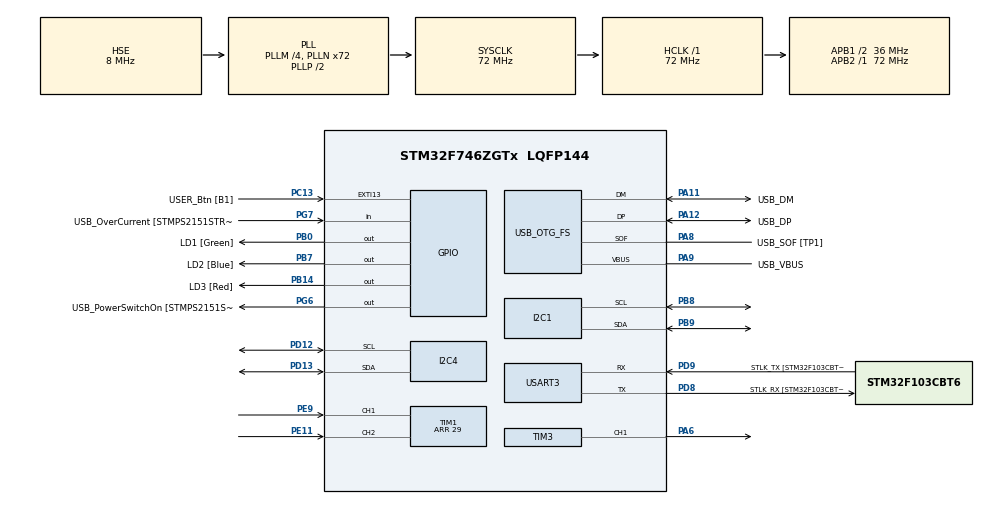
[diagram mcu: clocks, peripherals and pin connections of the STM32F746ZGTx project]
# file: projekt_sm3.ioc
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I2C1.Timing=0x00808CD2
I2C4.AddressingMode=I2C_ADDRESSINGMODE_7BIT
I2C4.Timing=0x00808CD2
Mcu.Family=STM32F7
Mcu.Name=STM32F746ZGTx
Mcu.Package=LQFP144
NVIC.I2C4_ER_IRQn=true\:0\:0\:false\:false\:true\:true\:true
NVIC.I2C4_EV_IRQn=true\:0\:0\:false\:false\:true\:true\:true
NVIC.PriorityGroup=NVIC_PRIORITYGROUP_4
PA1.GPIO_Label=RMII_REF_CLK [LAN8742A-CZ-TR_REFCLK0]
PA1.Signal=ETH_REF_CLK
PA10.GPIO_Label=USB_ID
PA10.Signal=USB_OTG_FS_ID
PA11.GPIO_Label=USB_DM
PA11.Mode=Device_Only
PA11.Signal=USB_OTG_FS_DM
PA12.GPIO_Label=USB_DP
PA12.Mode=Device_Only
PA12.Signal=USB_OTG_FS_DP
PA13.GPIO_Label=TMS
PA13.Mode=Serial_Wire
PA13.Signal=SYS_JTMS-SWDIO
PA14.GPIO_Label=TCK
PA14.Mode=Serial_Wire
PA14.Signal=SYS_JTCK-SWCLK
PA2.GPIO_Label=RMII_MDIO [LAN8742A-CZ-TR_MDIO]
PA2.Signal=ETH_MDIO
PA6.Signal=S_TIM3_CH1
PA7.GPIO_Label=RMII_CRS_DV [LAN8742A-CZ-TR_CRS_DV]
PA7.Signal=ETH_CRS_DV
PA8.GPIO_Label=USB_SOF [TP1]
PA8.Mode=Activate_SOF_FS
PA8.Signal=USB_OTG_FS_SOF
PA9.GPIO_Label=USB_VBUS
PA9.Mode=Activate_VBUS
PA9.Signal=USB_OTG_FS_VBUS
PB0.GPIO_Label=LD1 [Green]
PB0.Signal=GPIO_Output
PB13.GPIO_Label=RMII_TXD1 [LAN8742A-CZ-TR_TXD1]
PB13.Signal=ETH_TXD1
PB14.GPIO_Label=LD3 [Red]
PB14.Signal=GPIO_Output
PB3.GPIO_Label=SW0
PB3.Signal=SYS_JTDO-SWO
PB7.GPIO_Label=LD2 [Blue]
PB7.Signal=GPIO_Output
PB8.Mode=I2C
PB8.Signal=I2C1_SCL
PB9.Mode=I2C
PB9.Signal=I2C1_SDA
PC1.GPIO_Label=RMII_MDC [LAN8742A-CZ-TR_MDC]
PC1.Signal=ETH_MDC
PC13.GPIO_Label=USER_Btn [B1]
PC13.Signal=GPXTI13
PC14/OSC32_IN.Mode=LSE-External-Oscillator
PC14/OSC32_IN.Signal=RCC_OSC32_IN
PC15/OSC32_OUT.Mode=LSE-External-Oscillator
PC15/OSC32_OUT.Signal=RCC_OSC32_OUT
PC4.GPIO_Label=RMII_RXD0 [LAN8742A-CZ-TR_RXD0]
PC4.Signal=ETH_RXD0
PC5.GPIO_Label=RMII_RXD1 [LAN8742A-CZ-TR_RXD1]
PC5.Signal=ETH_RXD1
PD12.Mode=I2C
PD12.Signal=I2C4_SCL
PD13.Mode=I2C
PD13.Signal=I2C4_SDA
PD8.GPIO_Label=STLK_RX [STM32F103CBT6_PA3]
PD8.Mode=Asynchronous
PD8.Signal=USART3_TX
PD9.GPIO_Label=STLK_TX [STM32F103CBT6_PA2]
PD9.Mode=Asynchronous
PD9.Signal=USART3_RX
PE11.Signal=S_TIM1_CH2
PE9.Signal=S_TIM1_CH1
PG11.GPIO_Label=RMII_TX_EN [LAN8742A-CZ-TR_TXEN]
PG11.Signal=ETH_TX_EN
PG13.GPIO_Label=RMII_TXD0 [LAN8742A-CZ-TR_TXD0]
PG13.Signal=ETH_TXD0
PG6.GPIO_Label=USB_PowerSwitchOn [STMPS2151STR_EN]
PG6.Signal=GPIO_Output
PG7.GPIO_Label=USB_OverCurrent [STMPS2151STR_FAULT]
PG7.Signal=GPIO_Input
PH0/OSC_IN.GPIO_Label=MCO [STM32F103CBT6_PA8]
PH0/OSC_IN.Mode=HSE-External-Clock-Source
PH0/OSC_IN.Signal=RCC_OSC_IN
PH1/OSC_OUT.Mode=HSE-External-Clock-Source
PH1/OSC_OUT.Signal=RCC_OSC_OUT
ProjectManager.HeapSize=0x200
ProjectManager.StackSize=0x400
ProjectManager.TargetToolchain=STM32CubeIDE
RCC.48MHZClocksFreq_Value=24000000
RCC.AHBFreq_Value=72000000
RCC.APB1CLKDivider=RCC_HCLK_DIV2
RCC.APB1Freq_Value=36000000
RCC.APB1TimFreq_Value=72000000
RCC.APB2Freq_Value=72000000
RCC.APB2TimFreq_Value=72000000
RCC.CortexFreq_Value=72000000
RCC.HCLKFreq_Value=72000000
RCC.HSE_VALUE=8000000
RCC.HSI_VALUE=16000000
RCC.PLLM=4
RCC.PLLMUL=RCC_PLL_MUL9
RCC.PLLN=72
RCC.PLLQ=3
RCC.PRESCALERUSB=RCC_USBCLKSOURCE_PLL_DIV1_5
RCC.SYSCLKFreq_VALUE=72000000
RCC.SYSCLKSource=RCC_SYSCLKSOURCE_PLLCLK
RCC.SYSCLKSourceVirtual=RCC_SYSCLKSOURCE_PLLCLK
RCC.USBFreq_Value=48000000
RCC.VCOOutputFreq_Value=144000000
SH.S_TIM1_CH1.0=TIM1_CH1,Encoder_Interface
SH.S_TIM1_CH2.0=TIM1_CH2,Encoder_Interface
SH.S_TIM3_CH1.0=TIM3_CH1,PWM Generation1 CH1
TIM1.Period=29
TIM3.Channel-PWM\ Generation1\ CH1=TIM_CHANNEL_1
TIM3.Period=999
TIM3.Prescaler=71
TIM7.Period=5000
TIM7.Prescaler=7200
USART3.VirtualMode-Asynchronous=VM_ASYNC
USB_OTG_FS.VirtualMode=Device_Only
VP_TIM7_VS_ClockSourceINT.Mode=Enable_Timer
board=NUCLEO-F746ZG

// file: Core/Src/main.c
/* USER CODE BEGIN Header */
/**
  ******************************************************************************
  * @file           : main.c
  * @brief          : Main program body
  ******************************************************************************
  * @attention
  *
  * <h2><center>&copy; Copyright (c) 2021 STMicroelectronics.
  * All rights reserved.</center></h2>
  *
  * This software component is licensed by ST under BSD 3-Clause license,
  * the "License"; You may not use this file except in compliance with the
  * License. You may obtain a copy of the License at:
  *                        opensource.org/licenses/BSD-3-Clause
  *
  ******************************************************************************
  */
/* USER CODE END Header */
#include "main.h"

/* USER CODE BEGIN Includes */
#include "BMPXX80.h"
#include "i2c-lcd.h"
#include <stdbool.h>
#include <stdio.h>
#include <string.h>

/* USER CODE END Includes */

/* USER CODE BEGIN PTD */

typedef struct{
	float  Kp;
	float  Ki;
	float  Kd;
	float  dt;
}pid_parameters_t;

typedef struct{
	pid_parameters_t p;
	float  previous_error, previous_integral;
}pid_t2;

float  calculate_discrete_pid(pid_t2* pid, float  setpoint, float  measured){
	float  u=0, P, I, D, error, integral, derivative;

	error = setpoint-measured;

	//proportional part
	P = pid->p.Kp * error;

	//integral part
	integral = pid->previous_integral + (error+pid->previous_error) ; //numerical integrator without anti-windup
	pid->previous_integral = integral;
	I = pid->p.Ki*integral*(pid->p.dt/2.0);

	//derivative part
	derivative = (error- pid->previous_error)/pid->p.dt;
	pid->previous_error = error;
	D = pid->p.Kd*derivative;

	//sum of all parts
	u = P + I + D; //without saturation

	if(P  + I + D<0){
		u = 0;
	}
	if(P  + I + D>999){
		u = 999;
	}
	return u;
}

/* USER CODE END PTD */

I2C_HandleTypeDef hi2c1;
I2C_HandleTypeDef hi2c4;

TIM_HandleTypeDef htim1;
TIM_HandleTypeDef htim3;
TIM_HandleTypeDef htim7;

UART_HandleTypeDef huart3;

PCD_HandleTypeDef hpcd_USB_OTG_FS;

/* USER CODE BEGIN PV */
float temperature;
float temp_zadana = 25;
float temp_max = 40;
float temp_min = 20;
int32_t pressure;

float  dt = 0.007, t=0.0;
float  pid_output=0;
pid_t2 pid1 = { .p.Kp=1.35, .p.Ki=3.5, .p.Kd=0.1, .p.dt=0.01, .previous_error=0, .previous_integral=0};
uint16_t pwm = 0;
float feedback_measurement_temp;
char text[5];
float setpoint_Lux;

int button_pressed = 0;
char text_buffer_line1[15];
char text_buffer_line2[15];

float var2 = 0;

/* USER CODE END PV */

void SystemClock_Config(void);
static void MX_GPIO_Init(void);
static void MX_USART3_UART_Init(void);
static void MX_USB_OTG_FS_PCD_Init(void);
static void MX_I2C1_Init(void);
static void MX_I2C4_Init(void);
static void MX_TIM1_Init(void);
static void MX_TIM3_Init(void);
static void MX_TIM7_Init(void);

/* USER CODE BEGIN 0 */

void HAL_TIM_PeriodElapsedCallback(TIM_HandleTypeDef *htim){
	if(htim->Instance == TIM7){
		BMP280_ReadTemperatureAndPressure(&temperature, &pressure);
		feedback_measurement_temp = temperature;
		pid_output=calculate_discrete_pid(&pid1, temp_zadana, temperature);
		pwm = (uint16_t)pid_output*999/20;
		if(pwm > 999){
			pwm = 999;
		}else if(pwm < 0){
			pwm = 0;
		}
		__HAL_TIM_SET_COMPARE(&htim3,TIM_CHANNEL_1, pwm);
	}

}

/* USER CODE END 0 */

int main(void)
{
  /* USER CODE BEGIN 1 */
  #define MAX_LENGTH 30
  char text[MAX_LENGTH];
  int impulsy;
  float msg[64];
  /* USER CODE END 1 */

  /* MCU Configuration--------------------------------------------------------*/

  /* Reset of all peripherals, Initializes the Flash interface and the Systick. */
  HAL_Init();

  /* Configure the system clock */
  SystemClock_Config();

  /* Initialize all configured peripherals */
  MX_GPIO_Init();
  MX_USART3_UART_Init();
  MX_USB_OTG_FS_PCD_Init();
  MX_I2C1_Init();
  MX_I2C4_Init();
  MX_TIM1_Init();
  MX_TIM3_Init();
  MX_TIM7_Init();
  /* USER CODE BEGIN 2 */
  BMP280_Init(&hi2c1, BMP280_TEMPERATURE_16BIT, BMP280_STANDARD, BMP280_FORCEDMODE);
  HAL_TIM_Encoder_Start(&htim1,TIM_CHANNEL_ALL);
  HAL_TIM_PWM_Start(&htim3, TIM_CHANNEL_1);
  lcd_init();
  lcd_send_string ("Projekt SM");
  HAL_Delay(1000);
  lcd_put_cur(0, 0);
  lcd_send_string("P. Bialoblocki");
  lcd_put_cur(1, 0);
  lcd_send_string("G. Gruszczynski");
  HAL_Delay(1500);

  /* USER CODE END 2 */

  /* Infinite loop */
  while (1)
  {

    /* USER CODE BEGIN 3 */
//BMP280_ReadTemperatureAndPressure(&temperature, &pressure);

	  HAL_TIM_PeriodElapsedCallback(&htim7);

	  lcd_clear ();
	  lcd_put_cur(0, 0);
	  sprintf((char*)text, "Temp.  %.2f  C", temperature);
	  lcd_send_string(text);

	  sprintf((char*)msg, "pwm= %3i", pwm);
	  HAL_UART_Transmit(&huart3, (uint8_t*)msg, strlen(msg), 1000);

	  int imp = impulsy;
	  impulsy = __HAL_TIM_GET_COUNTER(&htim1);
	  if((impulsy > imp) && (temp_zadana < temp_max)){
		  temp_zadana = temp_zadana + 0.5;
	  }else if((impulsy < imp) && (temp_zadana > temp_min)){
		  temp_zadana = temp_zadana - 0.5;
	  }

	  lcd_put_cur(1, 0);
	  sprintf((char*)text, "Temp_zad.  %.2f  C", temp_zadana);
	  lcd_send_string(text);
	  HAL_Delay(250);

 }
  /* USER CODE END 3 */
}

void SystemClock_Config(void)
{
  RCC_OscInitTypeDef RCC_OscInitStruct = {0};
  RCC_ClkInitTypeDef RCC_ClkInitStruct = {0};

  /** Configure LSE Drive Capability
  */
  HAL_PWR_EnableBkUpAccess();
  /** Configure the main internal regulator output voltage
  */
  __HAL_RCC_PWR_CLK_ENABLE();
  __HAL_PWR_VOLTAGESCALING_CONFIG(PWR_REGULATOR_VOLTAGE_SCALE3);
  /** Initializes the RCC Oscillators according to the specified parameters
  * in the RCC_OscInitTypeDef structure.
  */
  RCC_OscInitStruct.OscillatorType = RCC_OSCILLATORTYPE_HSE;
  RCC_OscInitStruct.HSEState = RCC_HSE_BYPASS;
  RCC_OscInitStruct.PLL.PLLState = RCC_PLL_ON;
  RCC_OscInitStruct.PLL.PLLSource = RCC_PLLSOURCE_HSE;
  RCC_OscInitStruct.PLL.PLLM = 4;
  RCC_OscInitStruct.PLL.PLLN = 72;
  RCC_OscInitStruct.PLL.PLLP = RCC_PLLP_DIV2;
  RCC_OscInitStruct.PLL.PLLQ = 3;
  if (HAL_RCC_OscConfig(&RCC_OscInitStruct) != HAL_OK)
  {
    Error_Handler();
  }
  /** Initializes the CPU, AHB and APB buses clocks
  */
  RCC_ClkInitStruct.ClockType = RCC_CLOCKTYPE_HCLK|RCC_CLOCKTYPE_SYSCLK
                              |RCC_CLOCKTYPE_PCLK1|RCC_CLOCKTYPE_PCLK2;
  RCC_ClkInitStruct.SYSCLKSource = RCC_SYSCLKSOURCE_PLLCLK;
  RCC_ClkInitStruct.AHBCLKDivider = RCC_SYSCLK_DIV1;
  RCC_ClkInitStruct.APB1CLKDivider = RCC_HCLK_DIV2;
  RCC_ClkInitStruct.APB2CLKDivider = RCC_HCLK_DIV1;

  if (HAL_RCC_ClockConfig(&RCC_ClkInitStruct, FLASH_LATENCY_2) != HAL_OK)
  {
    Error_Handler();
  }
}

static void MX_I2C1_Init(void)
{

  hi2c1.Instance = I2C1;
  hi2c1.Init.Timing = 0x00808CD2;
  hi2c1.Init.OwnAddress1 = 0;
  hi2c1.Init.AddressingMode = I2C_ADDRESSINGMODE_7BIT;
  hi2c1.Init.DualAddressMode = I2C_DUALADDRESS_DISABLE;
  hi2c1.Init.OwnAddress2 = 0;
  hi2c1.Init.OwnAddress2Masks = I2C_OA2_NOMASK;
  hi2c1.Init.GeneralCallMode = I2C_GENERALCALL_DISABLE;
  hi2c1.Init.NoStretchMode = I2C_NOSTRETCH_DISABLE;
  if (HAL_I2C_Init(&hi2c1) != HAL_OK)
  {
    Error_Handler();
  }
  /** Configure Analogue filter
  */
  if (HAL_I2CEx_ConfigAnalogFilter(&hi2c1, I2C_ANALOGFILTER_ENABLE) != HAL_OK)
  {
    Error_Handler();
  }
  /** Configure Digital filter
  */
  if (HAL_I2CEx_ConfigDigitalFilter(&hi2c1, 0) != HAL_OK)
  {
    Error_Handler();
  }

}

static void MX_I2C4_Init(void)
{

  hi2c4.Instance = I2C4;
  hi2c4.Init.Timing = 0x00808CD2;
  hi2c4.Init.OwnAddress1 = 0;
  hi2c4.Init.AddressingMode = I2C_ADDRESSINGMODE_7BIT;
  hi2c4.Init.DualAddressMode = I2C_DUALADDRESS_DISABLE;
  hi2c4.Init.OwnAddress2 = 0;
  hi2c4.Init.OwnAddress2Masks = I2C_OA2_NOMASK;
  hi2c4.Init.GeneralCallMode = I2C_GENERALCALL_DISABLE;
  hi2c4.Init.NoStretchMode = I2C_NOSTRETCH_DISABLE;
  if (HAL_I2C_Init(&hi2c4) != HAL_OK)
  {
    Error_Handler();
  }
  /** Configure Analogue filter
  */
  if (HAL_I2CEx_ConfigAnalogFilter(&hi2c4, I2C_ANALOGFILTER_ENABLE) != HAL_OK)
  {
    Error_Handler();
  }
  /** Configure Digital filter
  */
  if (HAL_I2CEx_ConfigDigitalFilter(&hi2c4, 0) != HAL_OK)
  {
    Error_Handler();
  }

}

static void MX_TIM1_Init(void)
{

  TIM_Encoder_InitTypeDef sConfig = {0};
  TIM_MasterConfigTypeDef sMasterConfig = {0};

  htim1.Instance = TIM1;
  htim1.Init.Prescaler = 0;
  htim1.Init.CounterMode = TIM_COUNTERMODE_UP;
  htim1.Init.Period = 29;
  htim1.Init.ClockDivision = TIM_CLOCKDIVISION_DIV1;
  htim1.Init.RepetitionCounter = 0;
  htim1.Init.AutoReloadPreload = TIM_AUTORELOAD_PRELOAD_DISABLE;
  sConfig.EncoderMode = TIM_ENCODERMODE_TI1;
  sConfig.IC1Polarity = TIM_ICPOLARITY_RISING;
  sConfig.IC1Selection = TIM_ICSELECTION_DIRECTTI;
  sConfig.IC1Prescaler = TIM_ICPSC_DIV1;
  sConfig.IC1Filter = 0;
  sConfig.IC2Polarity = TIM_ICPOLARITY_RISING;
  sConfig.IC2Selection = TIM_ICSELECTION_DIRECTTI;
  sConfig.IC2Prescaler = TIM_ICPSC_DIV1;
  sConfig.IC2Filter = 0;
  if (HAL_TIM_Encoder_Init(&htim1, &sConfig) != HAL_OK)
  {
    Error_Handler();
  }
  sMasterConfig.MasterOutputTrigger = TIM_TRGO_RESET;
  sMasterConfig.MasterOutputTrigger2 = TIM_TRGO2_RESET;
  sMasterConfig.MasterSlaveMode = TIM_MASTERSLAVEMODE_DISABLE;
  if (HAL_TIMEx_MasterConfigSynchronization(&htim1, &sMasterConfig) != HAL_OK)
  {
    Error_Handler();
  }

}

static void MX_TIM3_Init(void)
{

  TIM_MasterConfigTypeDef sMasterConfig = {0};
  TIM_OC_InitTypeDef sConfigOC = {0};

  htim3.Instance = TIM3;
  htim3.Init.Prescaler = 71;
  htim3.Init.CounterMode = TIM_COUNTERMODE_UP;
  htim3.Init.Period = 999;
  htim3.Init.ClockDivision = TIM_CLOCKDIVISION_DIV1;
  htim3.Init.AutoReloadPreload = TIM_AUTORELOAD_PRELOAD_DISABLE;
  if (HAL_TIM_PWM_Init(&htim3) != HAL_OK)
  {
    Error_Handler();
  }
  sMasterConfig.MasterOutputTrigger = TIM_TRGO_RESET;
  sMasterConfig.MasterSlaveMode = TIM_MASTERSLAVEMODE_DISABLE;
  if (HAL_TIMEx_MasterConfigSynchronization(&htim3, &sMasterConfig) != HAL_OK)
  {
    Error_Handler();
  }
  sConfigOC.OCMode = TIM_OCMODE_PWM1;
  sConfigOC.Pulse = 0;
  sConfigOC.OCPolarity = TIM_OCPOLARITY_HIGH;
  sConfigOC.OCFastMode = TIM_OCFAST_DISABLE;
  if (HAL_TIM_PWM_ConfigChannel(&htim3, &sConfigOC, TIM_CHANNEL_1) != HAL_OK)
  {
    Error_Handler();
  }
  HAL_TIM_MspPostInit(&htim3);

}

static void MX_TIM7_Init(void)
{

  TIM_MasterConfigTypeDef sMasterConfig = {0};

  htim7.Instance = TIM7;
  htim7.Init.Prescaler = 7200;
  htim7.Init.CounterMode = TIM_COUNTERMODE_UP;
  htim7.Init.Period = 5000;
  htim7.Init.AutoReloadPreload = TIM_AUTORELOAD_PRELOAD_DISABLE;
  if (HAL_TIM_Base_Init(&htim7) != HAL_OK)
  {
    Error_Handler();
  }
  sMasterConfig.MasterOutputTrigger = TIM_TRGO_RESET;
  sMasterConfig.MasterSlaveMode = TIM_MASTERSLAVEMODE_DISABLE;
  if (HAL_TIMEx_MasterConfigSynchronization(&htim7, &sMasterConfig) != HAL_OK)
  {
    Error_Handler();
  }

}

static void MX_USART3_UART_Init(void)
{

  huart3.Instance = USART3;
  huart3.Init.BaudRate = 115200;
  huart3.Init.WordLength = UART_WORDLENGTH_8B;
  huart3.Init.StopBits = UART_STOPBITS_1;
  huart3.Init.Parity = UART_PARITY_NONE;
  huart3.Init.Mode = UART_MODE_TX_RX;
  huart3.Init.HwFlowCtl = UART_HWCONTROL_NONE;
  huart3.Init.OverSampling = UART_OVERSAMPLING_16;
  huart3.Init.OneBitSampling = UART_ONE_BIT_SAMPLE_DISABLE;
  huart3.AdvancedInit.AdvFeatureInit = UART_ADVFEATURE_NO_INIT;
  if (HAL_UART_Init(&huart3) != HAL_OK)
  {
    Error_Handler();
  }

}

static void MX_USB_OTG_FS_PCD_Init(void)
{

  hpcd_USB_OTG_FS.Instance = USB_OTG_FS;
  hpcd_USB_OTG_FS.Init.dev_endpoints = 6;
  hpcd_USB_OTG_FS.Init.speed = PCD_SPEED_FULL;
  hpcd_USB_OTG_FS.Init.dma_enable = DISABLE;
  hpcd_USB_OTG_FS.Init.phy_itface = PCD_PHY_EMBEDDED;
  hpcd_USB_OTG_FS.Init.Sof_enable = ENABLE;
  hpcd_USB_OTG_FS.Init.low_power_enable = DISABLE;
  hpcd_USB_OTG_FS.Init.lpm_enable = DISABLE;
  hpcd_USB_OTG_FS.Init.vbus_sensing_enable = ENABLE;
  hpcd_USB_OTG_FS.Init.use_dedicated_ep1 = DISABLE;
  if (HAL_PCD_Init(&hpcd_USB_OTG_FS) != HAL_OK)
  {
    Error_Handler();
  }

}

static void MX_GPIO_Init(void)
{
  GPIO_InitTypeDef GPIO_InitStruct = {0};

  /* GPIO Ports Clock Enable */
  __HAL_RCC_GPIOC_CLK_ENABLE();
  __HAL_RCC_GPIOH_CLK_ENABLE();
  __HAL_RCC_GPIOA_CLK_ENABLE();
  __HAL_RCC_GPIOB_CLK_ENABLE();
  __HAL_RCC_GPIOE_CLK_ENABLE();
  __HAL_RCC_GPIOD_CLK_ENABLE();
  __HAL_RCC_GPIOG_CLK_ENABLE();

  /*Configure GPIO pin Output Level */
  HAL_GPIO_WritePin(GPIOB, LD1_Pin|LD3_Pin|LD2_Pin, GPIO_PIN_RESET);

  /*Configure GPIO pin Output Level */
  HAL_GPIO_WritePin(USB_PowerSwitchOn_GPIO_Port, USB_PowerSwitchOn_Pin, GPIO_PIN_RESET);

  /*Configure GPIO pin : USER_Btn_Pin */
  GPIO_InitStruct.Pin = USER_Btn_Pin;
  GPIO_InitStruct.Mode = GPIO_MODE_IT_RISING;
  GPIO_InitStruct.Pull = GPIO_NOPULL;
  HAL_GPIO_Init(USER_Btn_GPIO_Port, &GPIO_InitStruct);

  /*Configure GPIO pins : RMII_MDC_Pin RMII_RXD0_Pin RMII_RXD1_Pin */
  GPIO_InitStruct.Pin = RMII_MDC_Pin|RMII_RXD0_Pin|RMII_RXD1_Pin;
  GPIO_InitStruct.Mode = GPIO_MODE_AF_PP;
  GPIO_InitStruct.Pull = GPIO_NOPULL;
  GPIO_InitStruct.Speed = GPIO_SPEED_FREQ_VERY_HIGH;
  GPIO_InitStruct.Alternate = GPIO_AF11_ETH;
  HAL_GPIO_Init(GPIOC, &GPIO_InitStruct);

  /*Configure GPIO pins : RMII_REF_CLK_Pin RMII_MDIO_Pin RMII_CRS_DV_Pin */
  GPIO_InitStruct.Pin = RMII_REF_CLK_Pin|RMII_MDIO_Pin|RMII_CRS_DV_Pin;
  GPIO_InitStruct.Mode = GPIO_MODE_AF_PP;
  GPIO_InitStruct.Pull = GPIO_NOPULL;
  GPIO_InitStruct.Speed = GPIO_SPEED_FREQ_VERY_HIGH;
  GPIO_InitStruct.Alternate = GPIO_AF11_ETH;
  HAL_GPIO_Init(GPIOA, &GPIO_InitStruct);

  /*Configure GPIO pins : LD1_Pin LD3_Pin LD2_Pin */
  GPIO_InitStruct.Pin = LD1_Pin|LD3_Pin|LD2_Pin;
  GPIO_InitStruct.Mode = GPIO_MODE_OUTPUT_PP;
  GPIO_InitStruct.Pull = GPIO_NOPULL;
  GPIO_InitStruct.Speed = GPIO_SPEED_FREQ_LOW;
  HAL_GPIO_Init(GPIOB, &GPIO_InitStruct);

  /*Configure GPIO pin : RMII_TXD1_Pin */
  GPIO_InitStruct.Pin = RMII_TXD1_Pin;
  GPIO_InitStruct.Mode = GPIO_MODE_AF_PP;
  GPIO_InitStruct.Pull = GPIO_NOPULL;
  GPIO_InitStruct.Speed = GPIO_SPEED_FREQ_VERY_HIGH;
  GPIO_InitStruct.Alternate = GPIO_AF11_ETH;
  HAL_GPIO_Init(RMII_TXD1_GPIO_Port, &GPIO_InitStruct);

  /*Configure GPIO pin : USB_PowerSwitchOn_Pin */
  GPIO_InitStruct.Pin = USB_PowerSwitchOn_Pin;
  GPIO_InitStruct.Mode = GPIO_MODE_OUTPUT_PP;
  GPIO_InitStruct.Pull = GPIO_NOPULL;
  GPIO_InitStruct.Speed = GPIO_SPEED_FREQ_LOW;
  HAL_GPIO_Init(USB_PowerSwitchOn_GPIO_Port, &GPIO_InitStruct);

  /*Configure GPIO pin : USB_OverCurrent_Pin */
  GPIO_InitStruct.Pin = USB_OverCurrent_Pin;
  GPIO_InitStruct.Mode = GPIO_MODE_INPUT;
  GPIO_InitStruct.Pull = GPIO_NOPULL;
  HAL_GPIO_Init(USB_OverCurrent_GPIO_Port, &GPIO_InitStruct);

  /*Configure GPIO pins : RMII_TX_EN_Pin RMII_TXD0_Pin */
  GPIO_InitStruct.Pin = RMII_TX_EN_Pin|RMII_TXD0_Pin;
  GPIO_InitStruct.Mode = GPIO_MODE_AF_PP;
  GPIO_InitStruct.Pull = GPIO_NOPULL;
  GPIO_InitStruct.Speed = GPIO_SPEED_FREQ_VERY_HIGH;
  GPIO_InitStruct.Alternate = GPIO_AF11_ETH;
  HAL_GPIO_Init(GPIOG, &GPIO_InitStruct);

}

void Error_Handler(void)
{
  __disable_irq();
  while (1)
  {
  }
}
